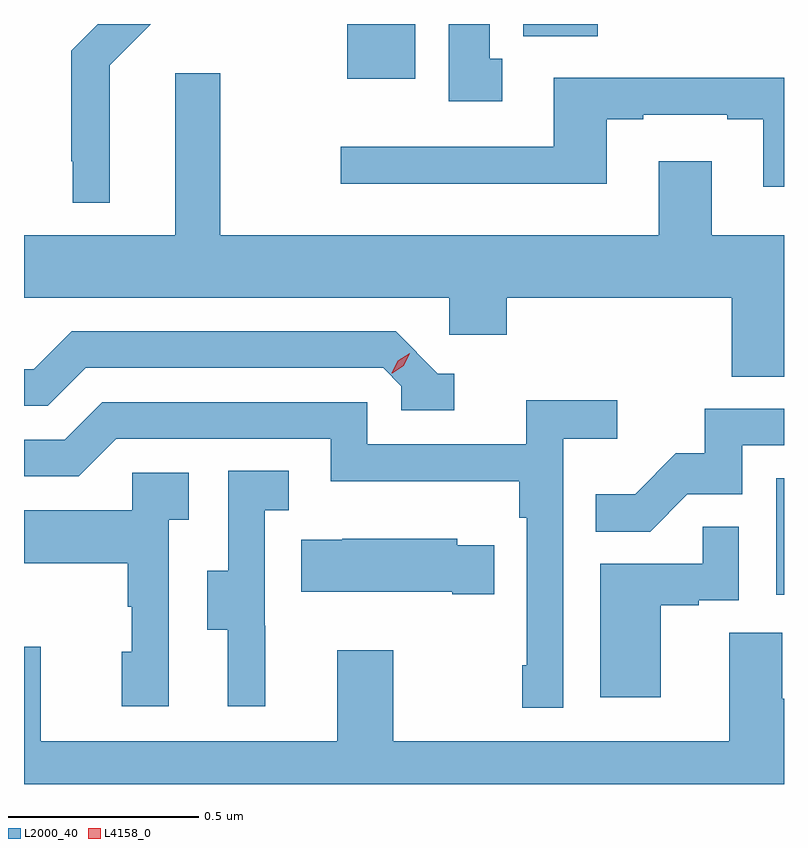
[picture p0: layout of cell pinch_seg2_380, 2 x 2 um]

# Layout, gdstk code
import gdstk
lib = gdstk.Library(unit=1e-6, precision=1e-09)
def R(c, l, rs):  # rectangles x0, y0, x1, y1
    for r in rs: c.add(gdstk.rectangle(r[:2], r[2:], *l))
def P(c, l, *ps):  # polygons
    for p in ps: c.add(gdstk.Polygon(p, *l))
L2000_40 = (2000, 40)
L4158_0 = (4158, 0)

pinch_seg2_380 = lib.new_cell('pinch_seg2_380')
R(pinch_seg2_380, L2000_40, [(988.094,606.894,988.115,607.201), (986.966,608.252,987.145,608.396), (987.429,608.364,987.625,608.396)])
P(pinch_seg2_380, L2000_40, [(987.373,608.305),(987.34,608.305),(987.34,608.396),(987.233,608.396),(987.233,608.193),(987.373,608.193)],
  [(986.341,608.288),(986.449,608.396),(986.309,608.396),(986.239,608.326),(986.239,608.035),(986.243,608.035),(986.243,607.925),(986.341,607.925)],
  [(988.115,607.84),(987.925,607.84),(987.925,608.035),(987.785,608.035),(987.785,607.84),(986.631,607.84),(986.631,608.266),(986.513,608.266),(986.513,607.84),(986.115,607.84),(986.115,607.676),(987.234,607.676),(987.234,607.578),(987.386,607.578),(987.386,607.676),(987.977,607.676),(987.977,607.468),(988.115,607.468)],
  [(988.115,608.254),(987.509,608.254),(987.509,608.073),(986.949,608.073),(986.949,607.976),(987.649,607.976),(987.649,608.145),(987.745,608.145),(987.745,608.157),(987.965,608.157),(987.965,608.145),(988.061,608.145),(988.061,607.968),(988.115,607.968)],
  [(987.247,607.476),(987.204,607.476),(987.093,607.587),(986.24,607.587),(986.141,607.488),(986.115,607.488),(986.115,607.392),(986.178,607.392),(986.277,607.491),(987.06,607.491),(987.108,607.443),(987.108,607.38),(987.247,607.38)],
  [(987.534,607.304),(987.676,607.304),(987.676,607.406),(987.437,607.406),(987.437,607.29),(987.018,607.29),(987.018,607.401),(986.321,607.401),(986.222,607.302),(986.115,607.302),(986.115,607.206),(986.259,607.206),(986.358,607.305),(986.922,607.305),(986.922,607.193),(987.418,607.193),(987.418,607.097),(987.438,607.097),(987.438,606.709),(987.426,606.709),(987.426,606.597),(987.534,606.597)],
  [(987.861,607.158),(988.005,607.158),(988.005,607.287),(988.115,607.287),(988.115,607.383),(987.907,607.383),(987.907,607.266),(987.83,607.266),(987.723,607.159),(987.619,607.159),(987.619,607.06),(987.763,607.06)],
  [(986.75,606.813),(986.748,606.813),(986.748,607.117),(986.812,607.117),(986.812,607.22),(986.652,607.22),(986.652,606.957),(986.597,606.957),(986.597,606.802),(986.651,606.802),(986.651,606.6),(986.75,606.6)],
  [(986.496,607.091),(986.548,607.091),(986.548,607.215),(986.4,607.215),(986.4,607.117),(986.115,607.117),(986.115,606.977),(986.388,606.977),(986.388,606.863),(986.398,606.863),(986.398,606.744),(986.372,606.744),(986.372,606.6),(986.496,606.6)],
  [(987.79,606.867),(987.89,606.867),(987.89,606.879),(987.996,606.879),(987.996,607.073),(987.901,607.073),(987.901,606.975),(987.632,606.975),(987.632,606.624),(987.79,606.624)],
  [(987.353,607.024),(987.255,607.024),(987.255,607.042),(986.953,607.042),(986.953,607.039),(986.845,607.039),(986.845,606.902),(987.242,606.902),(987.242,606.895),(987.353,606.895)],
  [(988.115,606.62),(988.111,606.62),(988.111,606.794),(987.971,606.794),(987.971,606.508),(987.087,606.508),(987.087,606.748),(986.939,606.748),(986.939,606.508),(986.159,606.508),(986.159,606.757),(986.115,606.757),(986.115,606.396),(988.115,606.396)])
P(pinch_seg2_380, L4158_0, [(987.083,607.477),(987.083,607.478),(987.099,607.51),(987.13,607.53),(987.13,607.53),(987.13,607.53),(987.114,607.497),(987.084,607.477)])

lib.write_gds('pinch_seg2_380.gds')
